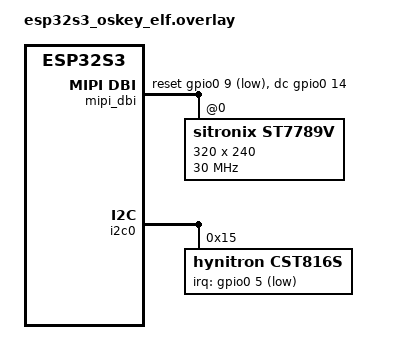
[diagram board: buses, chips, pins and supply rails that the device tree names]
#include <zephyr/dt-bindings/mipi_dbi/mipi_dbi.h>
#include <zephyr/dt-bindings/gpio/gpio.h>

/ {
  chosen {
    zephyr,display = &st7789v;
    zephyr,touch = &cst816s;
  };

  mipi_dbi {
    compatible = "zephyr,mipi-dbi-spi";
    dc-gpios = <&gpio0 14 GPIO_ACTIVE_HIGH>;
    reset-gpios = <&gpio0 9 GPIO_ACTIVE_LOW>;
    spi-dev = <&spi2>;
    write-only;
    #address-cells = <1>;
    #size-cells = <0>;

    st7789v: st7789v@0 {
      compatible = "sitronix,st7789v";
      mipi-max-frequency = <DT_FREQ_M(30)>;
      reg = <0>;
      width = <320>;
      height = <240>;
      x-offset = <0>;    // 0x2a
      y-offset = <0>;    // 0x2b
      vcom = <0x32>;     // 0xbb
      gctrl = <0x35>;
      vrhs = <0x15>;     // 0xc3
      vdvs = <0x20>;     // 0xc4
      mdac = <0x60>;     // 0x36 horizontal 0x00 0xc0 0x70 0xa0 0x60
      gamma = <0x01>;    // no gamma
      colmod = <0x55>;   // 0x3a, 0x05 0x55 0x66
      lcm = <0x2c>;
      porch-param = [ 0c 0c 00 33 33  ];   // 0xb2
      cmd2en-param = [ 5a 69 02 01  ];     // 0xdf
      pwctrl1-param = [ a4 a1  ];          // 0xd0
      pvgam-param = [ d0 08 0e 09 09 05 31 33 48 17 14 15 31 34  ]; // 0xe0
      nvgam-param = [ d0 08 0e 09 09 15 31 33 48 17 14 15 31 34  ]; // 0xe1
      ram-param = [ 00 F0  ];
      rgb-param = [ CD 08 14  ];
      mipi-mode = "MIPI_DBI_MODE_SPI_4WIRE";
    };
  };

  lvgl_pointer {
    compatible = "zephyr,lvgl-pointer-input";
    input = <&cst816s>;
    swap-xy;
  };

};

&i2c0 {
  status = "okay";
  cst816s: cst816s@15 {
    status = "okay";
    compatible = "hynitron,cst816s";
    reg = <0x15>;
    irq-gpios = <&gpio0 5 GPIO_ACTIVE_LOW>;
  };
};

&dma {
  status = "okay";
};

&psram0 {
  size = <DT_SIZE_M(2)>;
};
